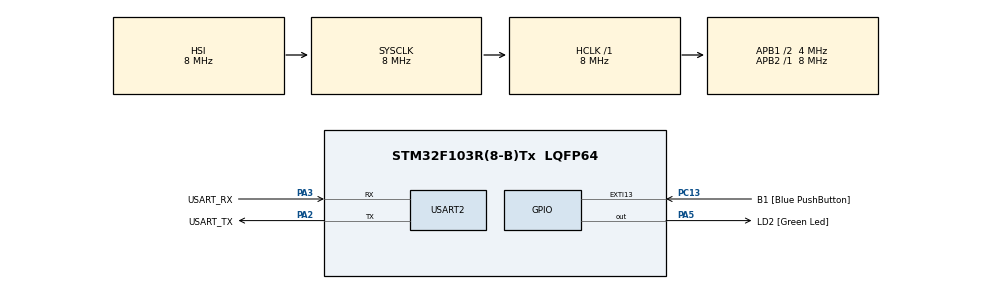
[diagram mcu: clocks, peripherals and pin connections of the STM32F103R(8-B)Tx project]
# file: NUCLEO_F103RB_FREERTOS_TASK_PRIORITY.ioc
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FREERTOS.Tasks01=defaultTask,24,128,StartDefaultTask,Default,NULL,Dynamic,NULL,NULL
Mcu.Family=STM32F1
Mcu.Name=STM32F103R(8-B)Tx
Mcu.Package=LQFP64
NVIC.EXTI15_10_IRQn=true\:5\:0\:false\:false\:true\:true\:true\:true\:true
NVIC.PriorityGroup=NVIC_PRIORITYGROUP_4
NVIC.TIM4_IRQn=true\:15\:0\:false\:false\:true\:false\:false\:true\:true
NVIC.TimeBase=TIM4_IRQn
NVIC.TimeBaseIP=TIM4
NVIC.USART2_IRQn=true\:5\:0\:false\:false\:true\:true\:true\:true\:true
PA13.GPIO_Label=TMS
PA13.Mode=Serial_Wire
PA13.Signal=SYS_JTMS-SWDIO
PA14.GPIO_Label=TCK
PA14.Mode=Serial_Wire
PA14.Signal=SYS_JTCK-SWCLK
PA2.GPIO_Label=USART_TX
PA2.GPIO_Mode=GPIO_MODE_AF_PP
PA2.GPIO_PuPd=GPIO_NOPULL
PA2.GPIO_Speed=GPIO_SPEED_FREQ_LOW
PA2.Mode=Asynchronous
PA2.Signal=USART2_TX
PA3.GPIO_Label=USART_RX
PA3.GPIO_Mode=GPIO_MODE_AF_PP
PA3.GPIO_PuPd=GPIO_NOPULL
PA3.GPIO_Speed=GPIO_SPEED_FREQ_LOW
PA3.Mode=Asynchronous
PA3.Signal=USART2_RX
PA5.GPIO_Label=LD2 [Green Led]
PA5.GPIO_ModeDefaultOutputPP=GPIO_MODE_OUTPUT_PP
PA5.GPIO_PuPd=GPIO_NOPULL
PA5.GPIO_Speed=GPIO_SPEED_FREQ_LOW
PA5.Signal=GPIO_Output
PB3.GPIO_Label=SWO
PB3.Signal=SYS_JTDO-TRACESWO
PC13-TAMPER-RTC.GPIO_Label=B1 [Blue PushButton]
PC13-TAMPER-RTC.GPIO_PuPd=GPIO_NOPULL
PC13-TAMPER-RTC.Signal=GPXTI13
PC14-OSC32_IN.Mode=LSE-External-Oscillator
PC14-OSC32_IN.Signal=RCC_OSC32_IN
PC15-OSC32_OUT.Mode=LSE-External-Oscillator
PC15-OSC32_OUT.Signal=RCC_OSC32_OUT
PD0-OSC_IN.Mode=HSE-External-Clock-Source
PD0-OSC_IN.Signal=RCC_OSC_IN
PD1-OSC_OUT.Mode=HSE-External-Clock-Source
PD1-OSC_OUT.Signal=RCC_OSC_OUT
ProjectManager.HeapSize=0x200
ProjectManager.StackSize=0x400
ProjectManager.TargetToolchain=Makefile
RCC.AHBFreq_Value=8000000
RCC.APB1CLKDivider=RCC_HCLK_DIV2
RCC.APB1Freq_Value=4000000
RCC.APB1TimFreq_Value=8000000
RCC.APB2Freq_Value=8000000
RCC.APB2TimFreq_Value=8000000
RCC.HCLKFreq_Value=8000000
RCC.PLLMUL=RCC_PLL_MUL16
RCC.RTCClockSelection=RCC_RTCCLKSOURCE_LSE
RCC.SYSCLKFreq_VALUE=8000000
RCC.USBFreq_Value=64000000
USART2.VirtualMode=VM_ASYNC
VP_FREERTOS_VS_CMSIS_V2.Mode=CMSIS_V2
VP_SYS_VS_tim4.Mode=TIM4
board=NUCLEO-F103RB

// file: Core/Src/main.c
/* USER CODE BEGIN Header */
/**
  ******************************************************************************
  * @file           : main.c
  * @brief          : Main program body
  ******************************************************************************
  * @attention
  *
  * Copyright (c) 2024 STMicroelectronics.
  * All rights reserved.
  *
  * This software is licensed under terms that can be found in the LICENSE file
  * in the root directory of this software component.
  * If no LICENSE file comes with this software, it is provided AS-IS.
  *
  ******************************************************************************
  */
/* USER CODE END Header */
#include "main.h"
#include "usart.h"
#include "gpio.h"

/* USER CODE BEGIN Includes */
#include "FreeRTOS.h"
#include "task.h"

/* USER CODE END Includes */

void SystemClock_Config(void);
void MX_FREERTOS_Init(void);

int main(void)
{

  /* MCU Configuration--------------------------------------------------------*/

  /* Reset of all peripherals, Initializes the Flash interface and the Systick. */
  HAL_Init();

  /* Configure the system clock */
  SystemClock_Config();

  /* Initialize all configured peripherals */
  MX_GPIO_Init();
  MX_USART2_UART_Init();

  /* Call init function for freertos objects (in freertos.c) */
  MX_FREERTOS_Init();

  /* Start scheduler */
  vTaskStartScheduler();
  /* We should never get here as control is now taken by the scheduler */
  /* Infinite loop */
  while (1)
  {

  }
}

void SystemClock_Config(void)
{
  RCC_OscInitTypeDef RCC_OscInitStruct = {0};
  RCC_ClkInitTypeDef RCC_ClkInitStruct = {0};

  /** Initializes the RCC Oscillators according to the specified parameters
  * in the RCC_OscInitTypeDef structure.
  */
  RCC_OscInitStruct.OscillatorType = RCC_OSCILLATORTYPE_HSI;
  RCC_OscInitStruct.HSIState = RCC_HSI_ON;
  RCC_OscInitStruct.HSICalibrationValue = RCC_HSICALIBRATION_DEFAULT;
  RCC_OscInitStruct.PLL.PLLState = RCC_PLL_NONE;
  if (HAL_RCC_OscConfig(&RCC_OscInitStruct) != HAL_OK)
  {
    Error_Handler();
  }

  /** Initializes the CPU, AHB and APB buses clocks
  */
  RCC_ClkInitStruct.ClockType = RCC_CLOCKTYPE_HCLK|RCC_CLOCKTYPE_SYSCLK
                              |RCC_CLOCKTYPE_PCLK1|RCC_CLOCKTYPE_PCLK2;
  RCC_ClkInitStruct.SYSCLKSource = RCC_SYSCLKSOURCE_HSI;
  RCC_ClkInitStruct.AHBCLKDivider = RCC_SYSCLK_DIV1;
  RCC_ClkInitStruct.APB1CLKDivider = RCC_HCLK_DIV2;
  RCC_ClkInitStruct.APB2CLKDivider = RCC_HCLK_DIV1;

  if (HAL_RCC_ClockConfig(&RCC_ClkInitStruct, FLASH_LATENCY_0) != HAL_OK)
  {
    Error_Handler();
  }
}

void HAL_TIM_PeriodElapsedCallback(TIM_HandleTypeDef *htim)
{
  if (htim->Instance == TIM4) {
    HAL_IncTick();
  }
}

void Error_Handler(void)
{
  __disable_irq();
  while (1)
  {
  }
}

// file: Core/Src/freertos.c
/* USER CODE BEGIN Header */
/**
  ******************************************************************************
  * File Name          : freertos.c
  * Description        : Code for freertos applications
  ******************************************************************************
  * @attention
  *
  * Copyright (c) 2024 STMicroelectronics.
  * All rights reserved.
  *
  * This software is licensed under terms that can be found in the LICENSE file
  * in the root directory of this software component.
  * If no LICENSE file comes with this software, it is provided AS-IS.
  *
  ******************************************************************************
  */
/* USER CODE END Header */

#include "FreeRTOS.h"
#include "task.h"
#include "main.h"

/* USER CODE BEGIN Includes */
#include <stdio.h>
#include "ProjectConfig.h"

/* USER CODE END Includes */

/* USER CODE BEGIN PD */
#define TASK1_PRIO  (tskIDLE_PRIORITY + PRIORITY_TASK_1)
#define TASK2_PRIO  (tskIDLE_PRIORITY + PRIORITY_TASK_2)

/* USER CODE END PD */

/* USER CODE BEGIN Variables */
TaskHandle_t xTaskHandle1 = NULL;
TaskHandle_t xTaskHandle2 = NULL;

/* USER CODE END Variables */

/* USER CODE BEGIN FunctionPrototypes */
void vTask1_handler(void *argument);
void vTask2_handler(void *argument);

/* USER CODE END FunctionPrototypes */

void MX_FREERTOS_Init(void); /* (MISRA C 2004 rule 8.1) */

void MX_FREERTOS_Init(void) {

  /* USER CODE BEGIN RTOS_TASKS */
  xTaskCreate(  vTask1_handler,
                "Task-1",
                configMINIMAL_STACK_SIZE,
                NULL,
                TASK1_PRIO,
                &xTaskHandle1 );

  xTaskCreate(  vTask2_handler,
                "Task-2",
                configMINIMAL_STACK_SIZE,
                NULL,
                TASK2_PRIO,
                &xTaskHandle2 );
  /* USER CODE END RTOS_TASKS */

}

/* USER CODE BEGIN Header_vTask1_handler */
/**
  * @brief  Function implementing a task that prints a string.
  * @param  argument: Not used
  * @retval None
  */
/* USER CODE END Header_vTask1_handler */
void vTask1_handler(void *argument)
{
  /* USER CODE BEGIN vTask1_handler */
  /* Infinite loop */
  for(;;)
  {
    printf("Hello from Task 1\n\r");
    #if ( TASK_1_DELAY_ENABLE )
      vTaskDelay(pdMS_TO_TICKS(TASK_1_DELAY_VALUE));
    #endif
  }
  /* USER CODE END vTask1_handler */
}

/* USER CODE BEGIN Header_vTask2_handler */
/**
  * @brief  Function implementing a task that prints a string.
  * @param  argument: Not used
  * @retval None
  */
/* USER CODE END Header_vTask2_handler */
void vTask2_handler(void *argument)
{
  /* USER CODE BEGIN vTask2_handler */
  /* Infinite loop */
  for(;;)
  {
    printf("Hello from Task 2\n\r");
    #if ( TASK_2_DELAY_ENABLE )
      vTaskDelay(pdMS_TO_TICKS(TASK_2_DELAY_VALUE));
    #endif
  }
  /* USER CODE END vTask2_handler */
}

/* USER CODE BEGIN Application */

/*---------------------------------------------------------------------------*/

/* Callback function prototypes */
extern void vApplicationIdleHook (void);
extern void vApplicationTickHook (void);
extern void vApplicationMallocFailedHook (void);

/* Private application code --------------------------------------------------*/
/* USER CODE BEGIN Application */

/*---------------------------------------------------------------------------*/

/* Callback function prototypes */
extern void vApplicationIdleHook (void);
extern void vApplicationTickHook (void);
extern void vApplicationMallocFailedHook (void);
extern void vApplicationDaemonTaskStartupHook (void);
extern void vApplicationStackOverflowHook (TaskHandle_t xTask, signed char *pcTaskName);

/**
  Dummy implementation of the callback function vApplicationIdleHook().
*/
#if (configUSE_IDLE_HOOK == 1)
__WEAK void vApplicationIdleHook (void){}
#endif

/**
  Dummy implementation of the callback function vApplicationTickHook().
*/
#if (configUSE_TICK_HOOK == 1)
 __WEAK void vApplicationTickHook (void){}
#endif

/**
  Dummy implementation of the callback function vApplicationMallocFailedHook().
*/
#if (configUSE_MALLOC_FAILED_HOOK == 1)
__WEAK void vApplicationMallocFailedHook (void){}
#endif

/**
  Dummy implementation of the callback function vApplicationDaemonTaskStartupHook().
*/
#if (configUSE_DAEMON_TASK_STARTUP_HOOK == 1)
__WEAK void vApplicationDaemonTaskStartupHook (void){}
#endif

/**
  Dummy implementation of the callback function vApplicationStackOverflowHook().
*/
#if (configCHECK_FOR_STACK_OVERFLOW > 0)
__WEAK void vApplicationStackOverflowHook (TaskHandle_t xTask, signed char *pcTaskName) {
  (void)xTask;
  (void)pcTaskName;
}
#endif

/*---------------------------------------------------------------------------*/

/* External Idle and Timer task static memory allocation functions */
extern void vApplicationGetIdleTaskMemory  (StaticTask_t **ppxIdleTaskTCBBuffer,  StackType_t **ppxIdleTaskStackBuffer,  uint32_t *pulIdleTaskStackSize);
extern void vApplicationGetTimerTaskMemory (StaticTask_t **ppxTimerTaskTCBBuffer, StackType_t **ppxTimerTaskStackBuffer, uint32_t *pulTimerTaskStackSize);

/* Idle task control block and stack */
static StaticTask_t Idle_TCB;
static StackType_t  Idle_Stack[configMINIMAL_STACK_SIZE];

/* Timer task control block and stack */
static StaticTask_t Timer_TCB;
static StackType_t  Timer_Stack[configTIMER_TASK_STACK_DEPTH];

/*
  vApplicationGetIdleTaskMemory gets called when configSUPPORT_STATIC_ALLOCATION
  equals to 1 and is required for static memory allocation support.
*/
void vApplicationGetIdleTaskMemory (StaticTask_t **ppxIdleTaskTCBBuffer, StackType_t **ppxIdleTaskStackBuffer, uint32_t *pulIdleTaskStackSize) {
  *ppxIdleTaskTCBBuffer   = &Idle_TCB;
  *ppxIdleTaskStackBuffer = &Idle_Stack[0];
  *pulIdleTaskStackSize   = (uint32_t)configMINIMAL_STACK_SIZE;
}

/*
  vApplicationGetTimerTaskMemory gets called when configSUPPORT_STATIC_ALLOCATION
  equals to 1 and is required for static memory allocation support.
*/
void vApplicationGetTimerTaskMemory (StaticTask_t **ppxTimerTaskTCBBuffer, StackType_t **ppxTimerTaskStackBuffer, uint32_t *pulTimerTaskStackSize) {
  *ppxTimerTaskTCBBuffer   = &Timer_TCB;
  *ppxTimerTaskStackBuffer = &Timer_Stack[0];
  *pulTimerTaskStackSize   = (uint32_t)configTIMER_TASK_STACK_DEPTH;
}

/* USER CODE END Application */
